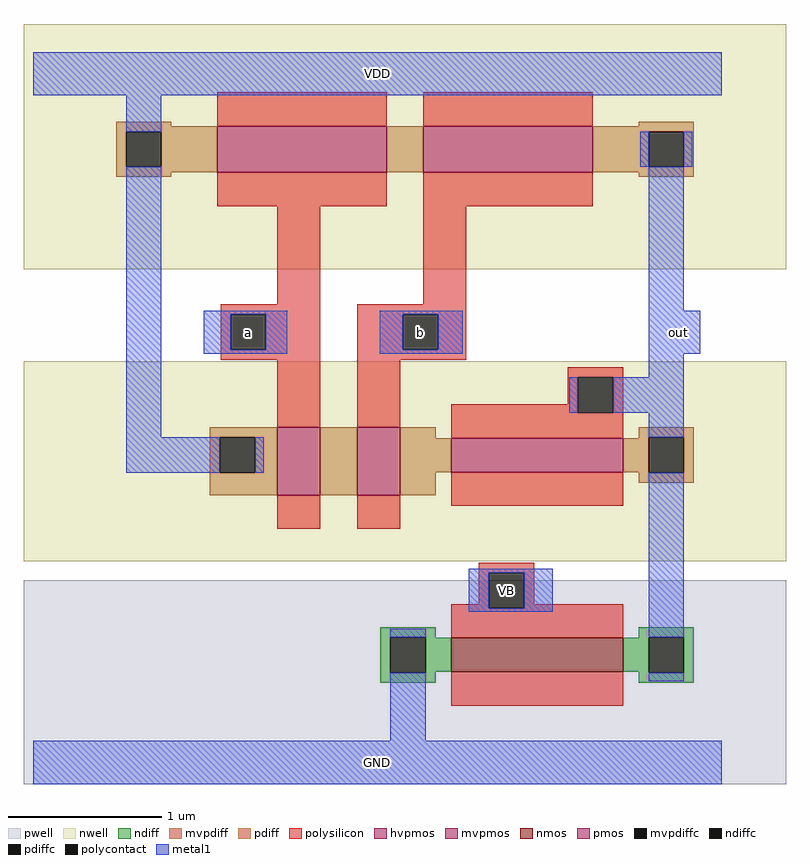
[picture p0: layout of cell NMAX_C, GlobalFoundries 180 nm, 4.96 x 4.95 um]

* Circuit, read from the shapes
.subckt NMAX_C a b out VB VDD GND
XM1 out VB GND VSUBS nfet_03v3 w=0.22u l=1.12u
XM2 n1 a VDD n2 pfet_06v0 w=0.3u l=1.1u
XM3 n3 a VDD n4 pfet_03v3 w=0.44u l=0.28u
XM4 n5 b n3 n4 pfet_03v3 w=0.44u l=0.28u
XM5 out b n1 n2 pfet_06v0 w=0.3u l=1.1u
XM6 out out n5 n4 pfet_03v3 w=0.22u l=1.12u
.ends

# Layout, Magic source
magic
tech gf180mcuC
magscale 1 10
<< nwell >>
rect -12 642 980 961
rect -12 262 980 522
<< pwell >>
rect -12 -28 980 237
<< nmos >>
rect 544 118 768 162
<< pmos >>
rect 318 348 374 436
rect 422 348 478 436
rect 544 378 768 422
<< mvpmos >>
rect 240 768 460 828
<< hvpmos >>
rect 508 768 728 828
<< ndiff >>
rect 452 163 524 176
rect 452 117 465 163
rect 511 162 524 163
rect 788 163 860 176
rect 788 162 801 163
rect 511 118 544 162
rect 768 118 801 162
rect 511 117 524 118
rect 452 104 524 117
rect 788 117 801 118
rect 847 117 860 163
rect 788 104 860 117
<< pdiff >>
rect 230 423 318 436
rect 230 377 243 423
rect 289 377 318 423
rect 230 348 318 377
rect 374 348 422 436
rect 478 422 524 436
rect 788 423 860 436
rect 788 422 801 423
rect 478 378 544 422
rect 768 378 801 422
rect 478 348 524 378
rect 788 377 801 378
rect 847 377 860 423
rect 788 364 860 377
<< mvpdiff >>
rect 108 828 180 834
rect 788 828 860 834
rect 108 821 240 828
rect 108 775 121 821
rect 167 775 240 821
rect 108 768 240 775
rect 460 768 508 828
rect 728 821 860 828
rect 728 775 801 821
rect 847 775 860 821
rect 728 768 860 775
rect 108 762 180 768
rect 788 762 860 768
<< ndiffc >>
rect 465 117 511 163
rect 801 117 847 163
<< pdiffc >>
rect 243 377 289 423
rect 801 377 847 423
<< mvpdiffc >>
rect 121 775 167 821
rect 801 775 847 821
<< polysilicon >>
rect 240 828 460 872
rect 508 828 728 872
rect 240 724 460 768
rect 508 724 728 768
rect 318 596 374 724
rect 508 596 564 724
rect 244 583 374 596
rect 244 537 257 583
rect 303 537 374 583
rect 244 524 374 537
rect 318 436 374 524
rect 422 583 564 596
rect 422 537 481 583
rect 527 537 564 583
rect 422 524 564 537
rect 422 436 478 524
rect 696 501 768 514
rect 696 466 709 501
rect 544 455 709 466
rect 755 455 768 501
rect 544 422 768 455
rect 318 304 374 348
rect 422 304 478 348
rect 544 334 768 378
rect 580 247 652 260
rect 580 206 593 247
rect 544 201 593 206
rect 639 206 652 247
rect 639 201 768 206
rect 544 162 768 201
rect 544 74 768 118
<< polycontact >>
rect 257 537 303 583
rect 481 537 527 583
rect 709 455 755 501
rect 593 201 639 247
<< metal1 >>
rect 0 868 896 924
rect 121 821 167 868
rect 790 775 801 821
rect 847 775 858 821
rect 121 423 167 775
rect 801 588 847 775
rect 222 583 331 588
rect 222 537 257 583
rect 303 537 331 583
rect 222 532 331 537
rect 451 583 559 588
rect 451 537 481 583
rect 527 537 559 583
rect 451 532 559 537
rect 801 532 868 588
rect 801 501 847 532
rect 698 455 709 501
rect 755 455 847 501
rect 801 423 847 455
rect 121 377 243 423
rect 289 377 300 423
rect 567 247 676 252
rect 567 201 593 247
rect 639 201 676 247
rect 567 196 676 201
rect 465 163 511 174
rect 465 28 511 117
rect 801 163 847 377
rect 801 106 847 117
rect 0 -28 896 28
<< labels >>
rlabel metal1 0 -28 896 28 0 GND
port 6 nsew
rlabel metal1 0 868 896 924 0 VDD
port 5 nsew
rlabel metal1 588 196 644 252 0 VB
port 4 nsew
rlabel metal1 812 532 868 588 0 out
port 3 nsew
rlabel metal1 476 532 532 588 0 b
port 2 nsew
rlabel metal1 252 532 308 588 0 a
port 1 nsew
<< properties >>
string FIXED_BBOX 0 0 896 896
string LEFclass CORE
string LEFsite site056um
<< end >>
